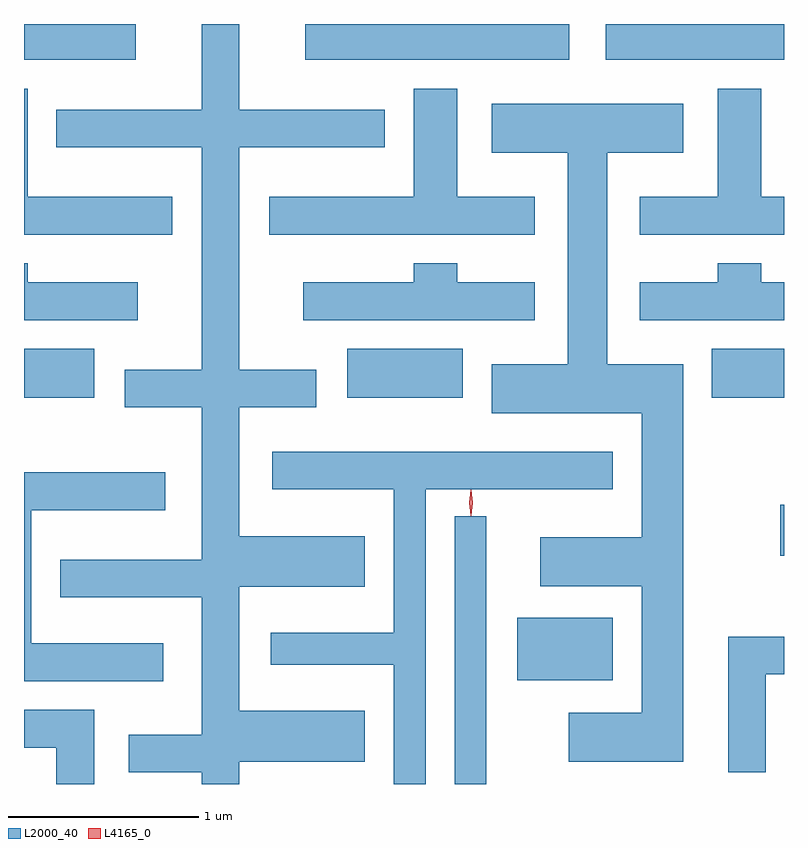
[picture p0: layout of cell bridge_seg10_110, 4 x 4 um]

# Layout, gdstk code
import gdstk
lib = gdstk.Library(unit=1e-6, precision=1e-09)
def R(c, l, rs):  # rectangles x0, y0, x1, y1
    for r in rs: c.add(gdstk.rectangle(r[:2], r[2:], *l))
def P(c, l, *ps):  # polygons
    for p in ps: c.add(gdstk.Polygon(p, *l))
L2000_40 = (2000, 40)
L4165_0 = (4165, 0)

bridge_seg10_110 = lib.new_cell('bridge_seg10_110')
R(bridge_seg10_110, L2000_40, [(1642.481,2140.764,1642.649,2142.173), (1642.811,2141.311,1643.314,2141.639), (1644.196,2141.966,1644.215,2142.234), (1640.215,2142.796,1640.584,2143.054), (1641.916,2142.796,1642.524,2143.054), (1643.836,2142.796,1644.215,2143.054), (1640.215,2144.576,1640.804,2144.764), (1641.696,2144.576,1643.084,2144.764), (1643.276,2144.576,1644.215,2144.764)])
P(bridge_seg10_110, L2000_40, [(1640.406,2141.944),(1640.406,2141.746),(1641.151,2141.746),(1641.151,2141.024),(1640.766,2141.024),(1640.766,2140.826),(1641.151,2140.826),(1641.151,2140.764),(1641.349,2140.764),(1641.349,2140.881),(1642.009,2140.881),(1642.009,2141.149),(1641.349,2141.149),(1641.349,2141.801),(1642.009,2141.801),(1642.009,2142.069),(1641.349,2142.069),(1641.349,2142.746),(1641.754,2142.746),(1641.754,2142.944),(1641.349,2142.944),(1641.349,2144.116),(1642.114,2144.116),(1642.114,2144.314),(1641.349,2144.314),(1641.349,2144.764),(1641.151,2144.764),(1641.151,2144.314),(1640.386,2144.314),(1640.386,2144.116),(1641.151,2144.116),(1641.151,2142.944),(1640.746,2142.944),(1640.746,2142.746),(1641.151,2142.746),(1641.151,2141.944)],
  [(1644.215,2143.854),(1644.094,2143.854),(1644.094,2144.424),(1643.866,2144.424),(1643.866,2143.854),(1643.456,2143.854),(1643.456,2143.656),(1644.215,2143.656)],
  [(1642.904,2143.854),(1642.494,2143.854),(1642.494,2144.424),(1642.266,2144.424),(1642.266,2143.854),(1641.506,2143.854),(1641.506,2143.656),(1642.904,2143.656)],
  [(1640.994,2143.854),(1640.234,2143.854),(1640.234,2144.424),(1640.215,2144.424),(1640.215,2143.656),(1640.994,2143.656)],
  [(1643.684,2142.974),(1643.284,2142.974),(1643.284,2144.086),(1643.684,2144.086),(1643.684,2144.344),(1642.676,2144.344),(1642.676,2144.086),(1643.076,2144.086),(1643.076,2142.974),(1642.676,2142.974),(1642.676,2142.716),(1643.466,2142.716),(1643.466,2142.064),(1642.931,2142.064),(1642.931,2141.806),(1643.466,2141.806),(1643.466,2141.139),(1643.081,2141.139),(1643.081,2140.881),(1643.684,2140.881)],
  [(1644.215,2143.404),(1644.094,2143.404),(1644.094,2143.504),(1643.866,2143.504),(1643.866,2143.404),(1643.456,2143.404),(1643.456,2143.206),(1644.215,2143.206)],
  [(1642.904,2143.404),(1642.494,2143.404),(1642.494,2143.504),(1642.266,2143.504),(1642.266,2143.404),(1641.686,2143.404),(1641.686,2143.206),(1642.904,2143.206)],
  [(1640.814,2143.404),(1640.234,2143.404),(1640.234,2143.504),(1640.215,2143.504),(1640.215,2143.206),(1640.814,2143.206)],
  [(1642.329,2142.316),(1643.314,2142.316),(1643.314,2142.514),(1641.521,2142.514),(1641.521,2142.316),(1642.161,2142.316),(1642.161,2141.559),(1641.513,2141.559),(1641.513,2141.391),(1642.161,2141.391),(1642.161,2140.764),(1642.329,2140.764)],
  [(1640.949,2141.504),(1640.254,2141.504),(1640.254,2142.206),(1640.959,2142.206),(1640.959,2142.404),(1640.215,2142.404),(1640.215,2141.306),(1640.949,2141.306)],
  [(1644.119,2141.341),(1644.215,2141.341),(1644.215,2141.539),(1643.921,2141.539),(1643.921,2140.826),(1644.119,2140.826)],
  [(1640.584,2141.154),(1640.215,2141.154),(1640.215,2140.956),(1640.386,2140.956),(1640.386,2140.764),(1640.584,2140.764)])
P(bridge_seg10_110, L4165_0, [(1642.567,2142.178),(1642.558,2142.244),(1642.567,2142.311),(1642.568,2142.311),(1642.568,2142.311),(1642.578,2142.244),(1642.568,2142.178),(1642.568,2142.178)],
  [(1642.568,2142.174),(1642.567,2142.175),(1642.558,2142.244),(1642.567,2142.313),(1642.568,2142.314),(1642.568,2142.313),(1642.578,2142.244),(1642.568,2142.175)])

lib.write_gds('bridge_seg10_110.gds')
